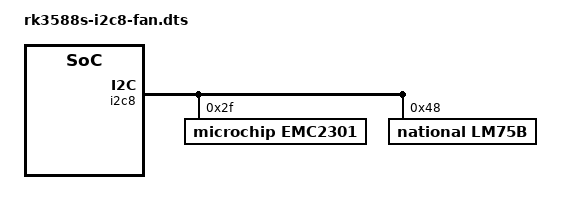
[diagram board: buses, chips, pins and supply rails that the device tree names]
/dts-v1/;
/plugin/;
#include <dt-bindings/thermal/thermal.h>

/ {
        metadata {
                title = "Enable I2C8-ENC2301-FAN";
                compatible = "radxa,rock-5a", "radxa,rock-5c";
                category = "misc";
                exclusive = "GPIO1_D6", "GPIO1_D7";
                description = "Enable I2C8-M2-EMC2301-FAN.\nOn Radxa ROCK 5C this is SDA pin 3 and SCL pin 5.";
        };

	fragment@0 {
		target = <&i2c8>;
		__overlay__ {
			emc2301: emc2301@2f {
				compatible = "microchip,emc2301";
				reg = <0x2f>;
                #address-cells = <1>;
                #size-cells = <0>;
                #cooling-cells = <2>;
                microchip,pwm-separate;
                microchip,cooling-levels = <10>;

                channel@0 {
                    reg = <0>;
                    pwm-min = <0>;
                };
			};
			lm75b: lm75b@48 {
				compatible = "national,lm75b";
				reg = <0x48>;
                #thermal-sensor-cells = <0>;
			};
		};
	};
	fragment@1 {
		target-path = "/thermal-zones";
		__overlay__ {
			sata_thermal: sata-thermal {
				polling-delay-passive = <1000>;
				polling-delay = <1000>;
				thermal-sensors = <&lm75b>;
				sensor_trips: trips {
					temp_crit: temp-crit {
						temperature = <65000>;
						hysteresis = <0>;
						type = "critical";
					};
					temp_hot: temp-hot {
						temperature = <40000>;
						hysteresis = <3000>;
						type = "active";
					};

					temp_vhot: temp-vhot {
						temperature = <55000>;
						hysteresis = <5000>;
						type = "active";
					};
				};

				cooling_maps: cooling-maps {
					hot {
						trip = <&temp_hot>;
						cooling-device = <&emc2301 2 6>;
					};


					vhot {
						trip = <&temp_vhot>;
						cooling-device = <&emc2301 6 10>;
					};
					melt {
						trip = <&temp_crit>;
						cooling-device = <&emc2301 THERMAL_NO_LIMIT THERMAL_NO_LIMIT>;
					};
				};
			};
		};
	};
};
